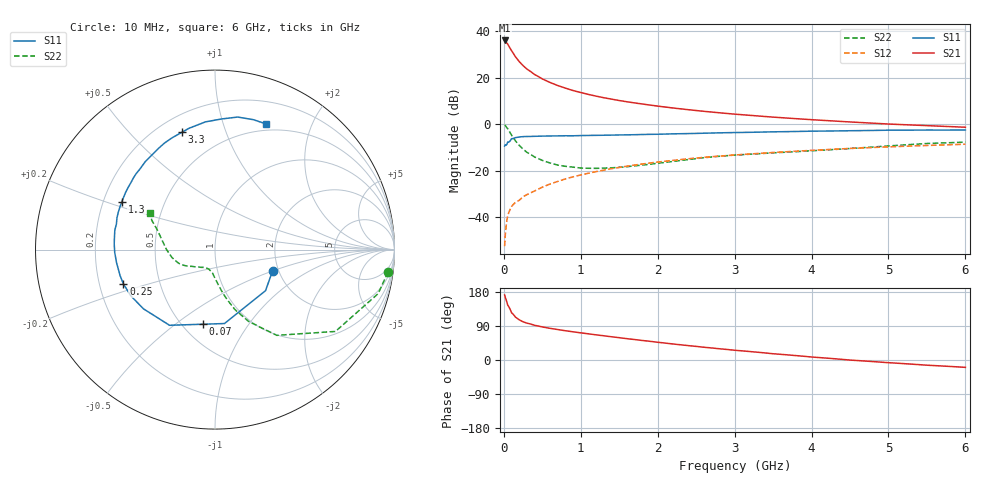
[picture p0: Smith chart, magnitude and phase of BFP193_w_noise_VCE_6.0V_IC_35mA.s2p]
! Infineon Technologies  Discrete & RF Semiconductors
! BFP193
! VCE =  6.0 V,  IC =  35 mA
! Common Emitter S-Parameters:  Jan 2017
# GHz  S  MA  R  50
!  f  S11  S21  S12  S22
! GHz  MAG  ANG  MAG  ANG  MAG  ANG  MAG  ANG
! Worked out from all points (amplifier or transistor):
!   77 points, 10 MHz to 6 GHz, reference 50 ohm
!   highest |S21| = 36.1 dB at 10 MHz (marker M1)
!   |S21| within 3 dB of that: start of sweep to 75.15 MHz
!   unconditionally stable (mu >= 1): 693.4 MHz to 2.477 GHz
!   at 130 MHz: K = 0.52, MSG = 32.2 dB, |S12| = -34.2 dB
!   at 2.2 GHz: K = 1.01, MAG = 10.6 dB, |S12| = -15.5 dB
!   at 6 GHz: K = 0.92, MSG = 3.7 dB, |S12| = -8.5 dB
!   lowest NFmin = 1.29 dB at 450 MHz
!   S11 on the Smith chart (normalised r, x): 10 MHz: 1.86, -0.50; 70 MHz: 0.62, -0.63; 250 MHz: 0.30, -0.17; 1.3 GHz: 0.28, +0.22; 3.3 GHz: 0.29, +0.72; 6 GHz: 0.43, +1.40
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0.01  0.342 -20.1  63.74 171.8  0.0024 85.6  0.9721 -7.4
0.02  0.3628 -39.1  62.72 164.5  0.0044 84.9  0.9415 -15.1
0.05  0.4153 -82.7  53.28 145.1  0.0109 66.1  0.8114 -34.2
0.07  0.4216 -99.5  46.7 138.5  0.0134 62.5  0.7128 -40.7
0.1  0.4919 -121.0  38.46 124.7  0.0171 59.1  0.5891 -54.2
0.15  0.5175 -140.4  28.52 113.3  0.021 55.6  0.4423 -64.9
0.2  0.5352 -151.3  22.41 106.1  0.0233 57.7  0.3524 -71.6
0.25  0.5448 -159.4  18.33 100.8  0.0278 57.8  0.2929 -75.8
0.3  0.5484 -164.7  15.46 97.3  0.0308 59.6  0.2504 -79.5
0.4  0.5535 -172.6  11.81 91.5  0.0369 63.1  0.1986 -84.4
0.5  0.5591 -178.5  9.497 87.2  0.0445 64.1  0.1678 -88.6
0.6  0.5624 176.7  7.973 83.6  0.0521 64.9  0.1477 -92.4
0.7  0.5647 172.7  6.846 80.4  0.0592 66.2  0.1331 -95.5
0.9  0.5675 165.4  5.34 74.4  0.0743 65.3  0.1202 -102.5
1.1  0.5777 158.9  4.403 69.1  0.0889 64.4  0.1136 -109.2
1.3  0.5836 152.8  3.739 63.9  0.1037 62.7  0.1145 -116.2
2.1  0.6184 130.9  2.357 44.6  0.1612 54.2  0.1524 -141.6
3.1  0.6702 109.4  1.61 24.1  0.2248 42.2  0.2229 -162.2
3.3  0.6793 105.7  1.517 20.5  0.2363 39.9  0.2329 -166.1
4.1  0.7158 92.8  1.232 6.4  0.2812 30.6  0.276 177.5
5.1  0.7495 78.9  1 -8.3  0.3328 19.3  0.3519 159.4
6  0.7558 67.7  0.867 -19.4  0.374 9.2  0.4144 150.8
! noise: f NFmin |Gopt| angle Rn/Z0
0.45  1.29  0.37  -172  0.08
0.9  1.35  0.4  -169  0.08
1.9  1.95  0.58  -135  0.18
2.4  2.29  0.62  -120  0.4
